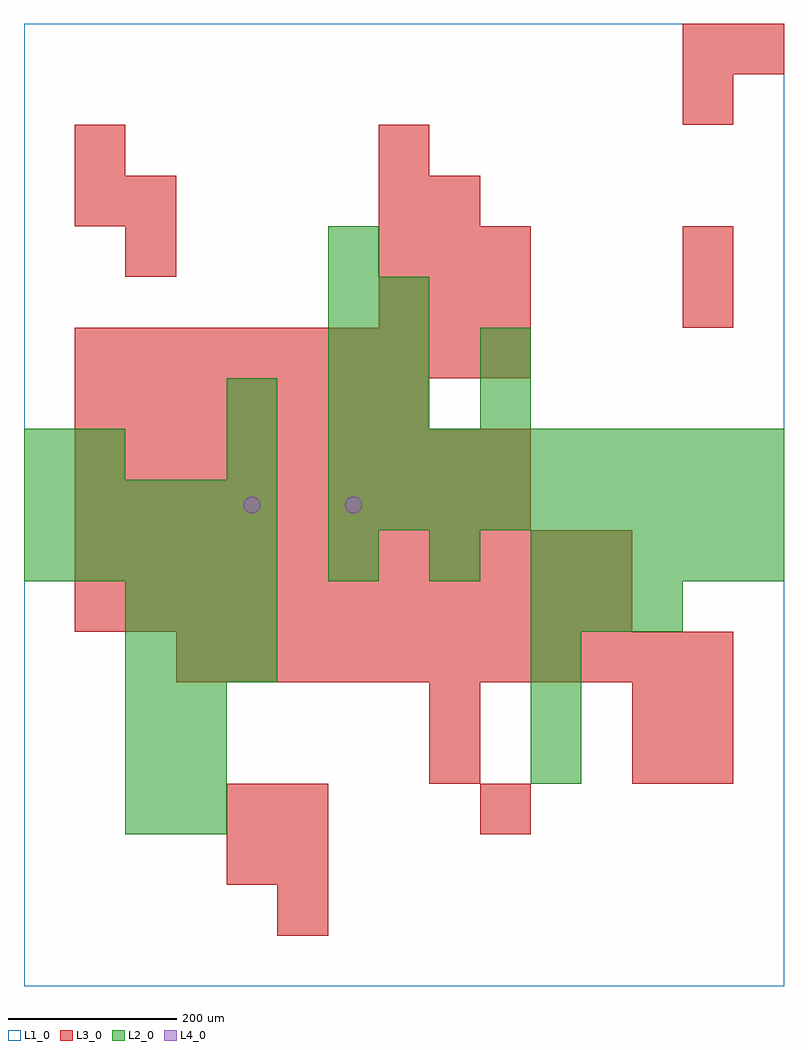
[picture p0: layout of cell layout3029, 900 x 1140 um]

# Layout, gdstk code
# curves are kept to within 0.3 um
import gdstk
lib = gdstk.Library(unit=1e-6, precision=1e-09)
def R(c, l, rs):  # rectangles x0, y0, x1, y1
    for r in rs: c.add(gdstk.rectangle(r[:2], r[2:], *l))
def A(c, l, x, y, w, h, nx, ny, dx, dy):  # array of equal rectangles
    R(c, l, [(x+i*dx, y+j*dy, x+i*dx+w, y+j*dy+h) for i in range(nx) for j in range(ny)])
def P(c, l, *ps):  # polygons
    for p in ps: c.add(gdstk.Polygon(p, *l))
L1_0 = (1, 0)
L2_0 = (2, 0)
L3_0 = (3, 0)
L4_0 = (4, 0)

layout3029 = lib.new_cell('layout3029')
R(layout3029, L1_0, [(0,0,900,1140)])
A(layout3029, L2_0, 120, 180, 60, 60, 1, 3, 0, 60)
A(layout3029, L2_0, 180, 180, 60, 60, 1, 3, 0, 60)
A(layout3029, L2_0, 600, 240, 60, 60, 1, 3, 0, 60)
A(layout3029, L2_0, 120, 360, 60, 60, 3, 2, 60, 60)
A(layout3029, L2_0, 600, 420, 60, 60, 3, 1, 60, 0)
A(layout3029, L2_0, 0, 480, 60, 60, 5, 2, 60, 60)
A(layout3029, L2_0, 360, 480, 60, 60, 3, 1, 120, 0)
A(layout3029, L2_0, 660, 480, 60, 60, 4, 1, 60, 0)
A(layout3029, L2_0, 360, 540, 60, 60, 9, 2, 60, 60)
A(layout3029, L2_0, 360, 660, 60, 60, 1, 4, 0, 60)
A(layout3029, L2_0, 420, 660, 60, 60, 1, 3, 0, 60)
R(layout3029, L2_0, [(0,600,60,660), (60,600,120,660), (240,600,300,660), (240,660,300,720), (540,660,600,720), (540,720,600,780)])
A(layout3029, L3_0, 300, 60, 60, 60, 1, 3, 0, 60)
A(layout3029, L3_0, 180, 360, 60, 60, 11, 1, 60, 0)
A(layout3029, L3_0, 60, 420, 60, 60, 11, 2, 60, 60)
A(layout3029, L3_0, 60, 540, 60, 60, 9, 2, 60, 60)
A(layout3029, L3_0, 60, 660, 60, 60, 7, 1, 60, 0)
A(layout3029, L3_0, 60, 720, 60, 60, 9, 1, 60, 0)
A(layout3029, L3_0, 420, 780, 60, 60, 3, 2, 60, 60)
R(layout3029, L3_0, [(240,120,300,180), (240,180,300,240), (540,180,600,240), (480,240,540,300), (720,240,780,300), (780,240,840,300), (480,300,540,360), (720,300,780,360), (780,300,840,360), (780,780,840,840), (120,840,180,900), (780,840,840,900), (60,900,120,960), (120,900,180,960), (420,900,480,960), (480,900,540,960), (60,960,120,1020), (420,960,480,1020), (780,1020,840,1080), (780,1080,840,1140), (840,1080,900,1140)])
P(layout3029, L4_0, [(280,570),(279.239,573.827),(277.071,577.071),(273.827,579.239),(270,580),(266.173,579.239),(262.929,577.071),(260.761,573.827),(260,570),(260.761,566.173),(262.929,562.929),(266.173,560.761),(270,560),(273.827,560.761),(277.071,562.929),(279.239,566.173)],
  [(400,570),(399.239,573.827),(397.071,577.071),(393.827,579.239),(390,580),(386.173,579.239),(382.929,577.071),(380.761,573.827),(380,570),(380.761,566.173),(382.929,562.929),(386.173,560.761),(390,560),(393.827,560.761),(397.071,562.929),(399.239,566.173)])

lib.write_gds('layout3029.gds')
